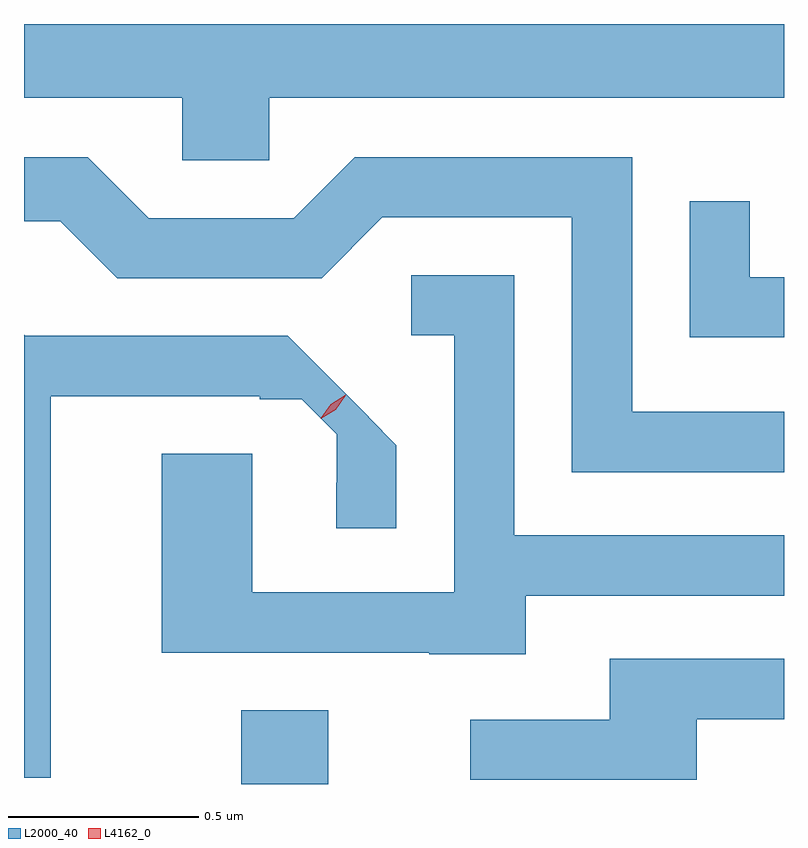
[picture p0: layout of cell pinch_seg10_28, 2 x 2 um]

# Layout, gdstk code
import gdstk
lib = gdstk.Library(unit=1e-6, precision=1e-09)
def R(c, l, rs):  # rectangles x0, y0, x1, y1
    for r in rs: c.add(gdstk.rectangle(r[:2], r[2:], *l))
def P(c, l, *ps):  # polygons
    for p in ps: c.add(gdstk.Polygon(p, *l))
L2000_40 = (2000, 40)
L4162_0 = (4162, 0)

pinch_seg10_28 = lib.new_cell('pinch_seg10_28')
R(pinch_seg10_28, L2000_40, [(607.091,2152.07,607.319,2152.264)])
P(pinch_seg10_28, L2000_40, [(607.164,2153.876),(608.519,2153.876),(608.519,2154.07),(606.519,2154.07),(606.519,2153.876),(606.936,2153.876),(606.936,2153.711),(607.164,2153.711)],
  [(608.519,2153.049),(608.119,2153.049),(608.119,2153.719),(607.389,2153.719),(607.229,2153.559),(606.847,2153.559),(606.687,2153.719),(606.519,2153.719),(606.519,2153.551),(606.614,2153.551),(606.764,2153.401),(607.302,2153.401),(607.462,2153.561),(607.961,2153.561),(607.961,2152.891),(608.519,2152.891)],
  [(608.519,2153.404),(608.429,2153.404),(608.429,2153.603),(608.271,2153.603),(608.271,2153.246),(608.519,2153.246)],
  [(607.839,2152.566),(608.519,2152.566),(608.519,2152.724),(607.809,2152.724),(607.809,2153.409),(607.538,2153.409),(607.538,2153.251),(607.651,2153.251),(607.651,2152.574),(607.119,2152.574),(607.119,2152.939),(606.881,2152.939),(606.881,2152.416),(607.585,2152.416),(607.585,2152.411),(607.839,2152.411)],
  [(606.589,2153.091),(607.14,2153.091),(607.14,2153.083),(607.25,2153.083),(607.342,2152.991),(607.342,2152.863),(607.341,2152.863),(607.341,2152.743),(607.499,2152.743),(607.499,2152.962),(607.426,2153.035),(607.426,2153.036),(607.213,2153.249),(606.522,2153.249),(606.519,2153.252),(606.519,2152.086),(606.589,2152.086)],
  [(608.289,2152.241),(608.519,2152.241),(608.519,2152.399),(608.061,2152.399),(608.061,2152.239),(607.693,2152.239),(607.693,2152.081),(608.289,2152.081)])
P(pinch_seg10_28, L4162_0, [(607.304,2153.035),(607.304,2153.036),(607.326,2153.07),(607.361,2153.09),(607.362,2153.09),(607.362,2153.089),(607.34,2153.055),(607.305,2153.035)],
  [(607.3,2153.031),(607.3,2153.032),(607.326,2153.07),(607.366,2153.094),(607.366,2153.094),(607.366,2153.093),(607.34,2153.055),(607.3,2153.031)])

lib.write_gds('pinch_seg10_28.gds')
